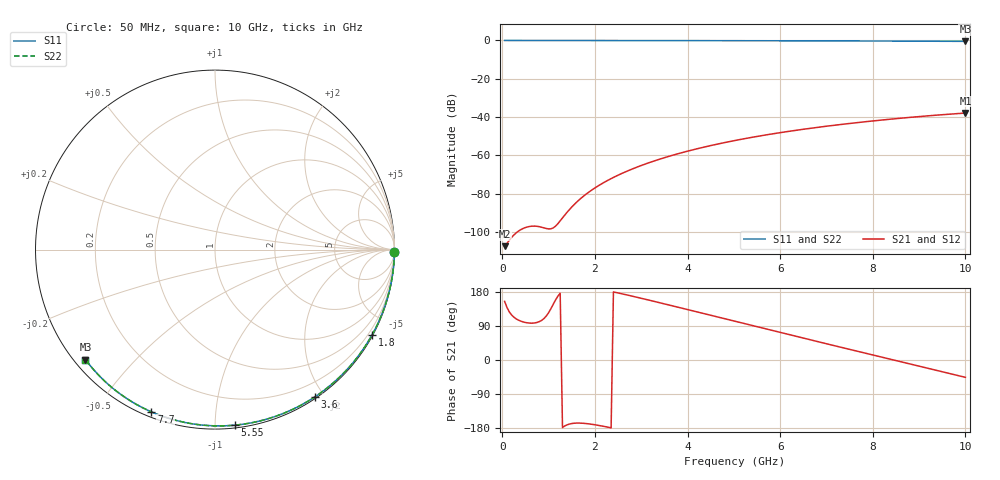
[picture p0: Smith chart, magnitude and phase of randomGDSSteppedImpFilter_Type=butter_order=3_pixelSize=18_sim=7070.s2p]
! freq	dB(S11)	phase(S11)	dB(S12)	phase(S12)
!  dB(S21)	phase(S21)	dB(S22)	phase(S22)
!S-par simulation data
#  GHz  S  DB  R 50
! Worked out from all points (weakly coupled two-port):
!   200 points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, 50 MHz to 10 GHz, reference 50 ohm
!   highest |S21| = -37.90 dB at 10 GHz (marker M1); lowest = -107.4 dB at 50 MHz (marker M2)
!   lowest |S11| = -0.5 dB at 10 GHz (marker M3), VSWR 36.42, Z = 1.56 - j18.3 ohm
!   |S11| at or under -10 dB: nowhere
!   |S22| runs from -0.5 to 0.0 dB; largest |S21 - S12| = 0
!   S11 on the Smith chart (normalised r, x): 50 MHz: open; 1.8 GHz: 0.03, -3.92; 3.6 GHz: 0.02, -1.88; 5.55 GHz: 0.02, -1.12; 7.7 GHz: 0.02, -0.68; 10 GHz: 0.03, -0.37
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0.05  -0.00 -0.8  -107.37 154.7  -107.37 154.7  -0.00 -0.8
0.45  -0.01 -7.3  -98.12 100.4  -98.12 100.4  -0.01 -7.3
0.9  -0.02 -14.5  -97.81 109.4  -97.81 109.4  -0.02 -14.5
1.3  -0.03 -20.8  -92.62 -178.1  -92.62 -178.1  -0.03 -20.8
1.75  -0.04 -27.9  -81.35 -167.0  -81.35 -167.0  -0.04 -27.9
1.8  -0.04 -28.6  -80.39 -167.6  -80.39 -167.6  -0.04 -28.6
1.85  -0.04 -29.4  -79.48 -168.3  -79.48 -168.3  -0.04 -29.4
2.05  -0.04 -32.5  -76.20 -171.9  -76.20 -171.9  -0.04 -32.5
2.2  -0.04 -34.8  -74.06 -175.3  -74.06 -175.3  -0.04 -34.8
2.55  -0.05 -40.2  -69.75 175.6  -69.75 175.6  -0.05 -40.2
2.95  -0.06 -46.3  -65.71 164.3  -65.71 164.3  -0.06 -46.3
3.4  -0.07 -53.0  -61.94 151.1  -61.94 151.1  -0.07 -53.0
3.6  -0.08 -55.9  -60.46 145.1  -60.46 145.1  -0.08 -55.9
4.3  -0.09 -66.1  -55.98 124.0  -55.98 124.0  -0.09 -66.1
5.05  -0.12 -76.6  -52.09 101.3  -52.09 101.3  -0.12 -76.6
5.55  -0.14 -83.4  -49.89 86.2  -49.89 86.2  -0.14 -83.4
6.1  -0.16 -90.8  -47.75 69.6  -47.75 69.6  -0.16 -90.8
6.7  -0.19 -98.6  -45.69 51.7  -45.69 51.7  -0.19 -98.6
7.7  -0.26 -111.4  -42.78 22.2  -42.78 22.2  -0.26 -111.4
8.35  -0.31 -119.5  -41.16 3.2  -41.16 3.2  -0.31 -119.5
9.2  -0.39 -129.9  -39.32 -21.8  -39.32 -21.8  -0.39 -129.9
10  -0.48 -139.7  -37.90 -45.8  -37.90 -45.8  -0.48 -139.7
